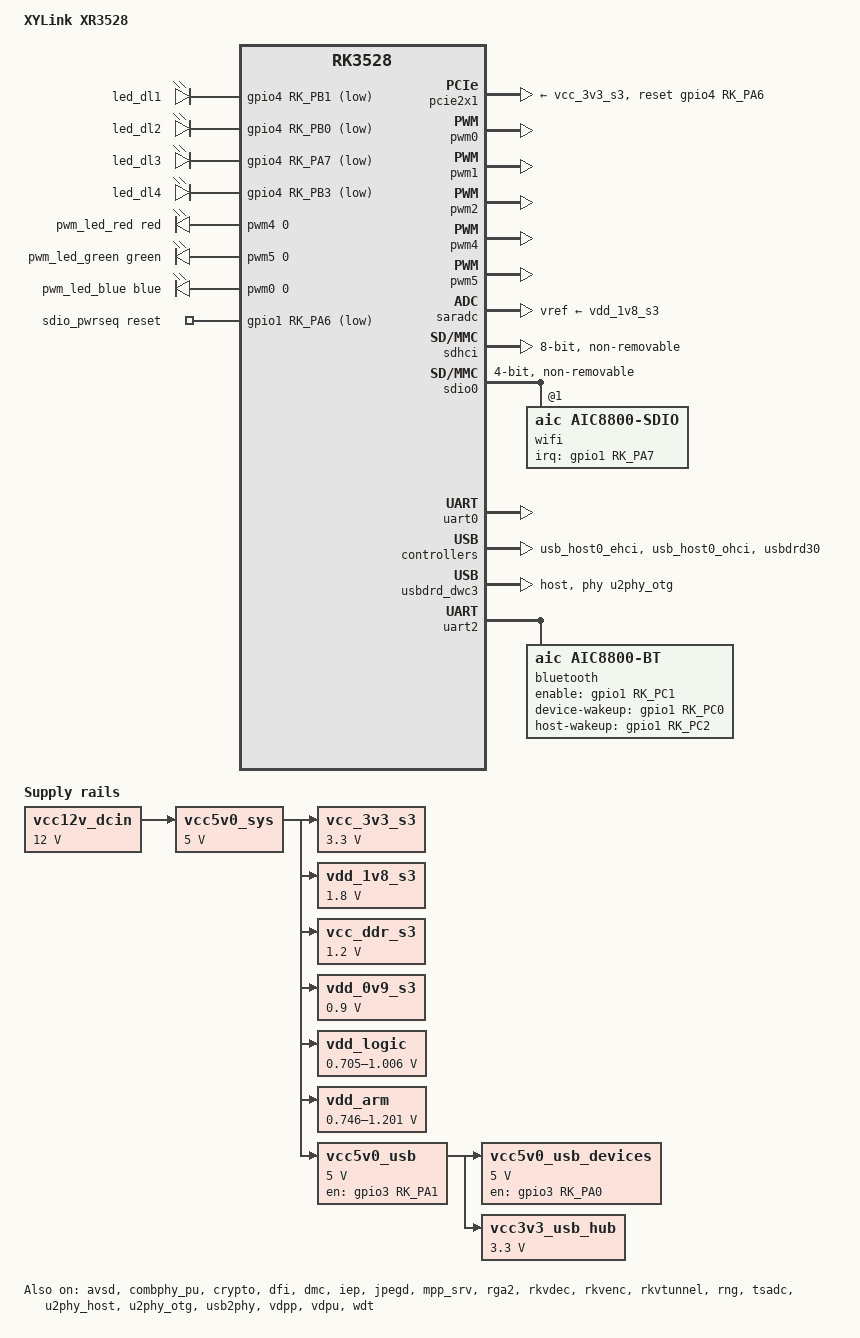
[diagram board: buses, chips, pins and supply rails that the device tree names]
// SPDX-License-Identifier: (GPL-2.0+ OR MIT)
/*
 * Copyright (c) 2022 Rockchip Electronics Co., Ltd.
 * Copyright (c) 2026 flippy (flippy@sina.com)
 *
 */

/dts-v1/;

#include <dt-bindings/gpio/gpio.h>
#include <dt-bindings/interrupt-controller/irq.h>
#include <dt-bindings/input/rk-input.h>
#include <dt-bindings/leds/common.h>
#include <dt-bindings/pinctrl/rockchip.h>
#include "rk3528.dtsi"

/ {
	model = "XYLink XR3528";
	compatible = "xylink,xr3528", "rockchip,rk3528";

	aliases: aliases {
		mmc0 = &sdmmc;
		mmc1 = &sdhci;
		mmc2 = &sdio0;
	};

	chosen: chosen{
		bootargs = "earlycon=uart8250,mmio32,0xff9f0000 console=ttyS0,1500000";
	};

	fiq_debugger: fiq-debugger {
		compatible = "rockchip,fiq-debugger";
		rockchip,serial-id = <0>;
		rockchip,wake-irq = <0>;
		/* If enable uart uses irq instead of fiq */
		rockchip,irq-mode-enable = <1>;
		rockchip,baudrate = <1500000>;  /* Only 115200 and 1500000 */
		interrupts = <GIC_SPI 186 IRQ_TYPE_LEVEL_HIGH>;
		pinctrl-names = "default";
		pinctrl-0 = <&uart0m0_xfer>;
		status = "disabled";
	};

	firmware: firmware {
		optee: optee {
			compatible = "linaro,optee-tz";
			method = "smc";
		};
	};

	gpio_leds: gpio-leds {
		compatible = "gpio-leds";

		led_dl1: led-dl1 {
			function = LED_FUNCTION_POWER;
			pinctrl-0 = <&led_dl1_pin>;
			pinctrl-names = "default";
			gpios = <&gpio4 RK_PB1 GPIO_ACTIVE_LOW>;
			linux,default-trigger = "default-on";
		};

		led_dl2: led-dl2 {
			function = LED_FUNCTION_HEARTBEAT;
			pinctrl-0 = <&led_dl2_pin>;
			pinctrl-names = "default";
			gpios = <&gpio4 RK_PB0 GPIO_ACTIVE_LOW>;
			linux,default-trigger = "heartbeat";
		};

		led_dl3: led-dl3 {
			pinctrl-0 = <&led_dl3_pin>;
			pinctrl-names = "default";
			gpios = <&gpio4 RK_PA7 GPIO_ACTIVE_LOW>;
		};

		led_dl4: led-dl4 {
			pinctrl-0 = <&led_dl4_pin>;
			pinctrl-names = "default";
			gpios = <&gpio4 RK_PB3 GPIO_ACTIVE_LOW>;
		};
	};

	pwm_leds: pwm-leds {
		compatible = "pwm-leds";

		pwm_led_red: pwm-led-red {
			color = <LED_COLOR_ID_RED>;
			pwms = <&pwm4 0 1000000 0>;
			max-brightness = <255>;
			default-state = "off";
		};

		pwm_led_green: pwm-led-green {
			color = <LED_COLOR_ID_GREEN>;
			pwms = <&pwm5 0 1000000 0>;
			linux,default-trigger = "heartbeat";
			max-brightness = <255>;
		};

		pwm_led_blue: pwm-led-blue {
			color = <LED_COLOR_ID_BLUE>;
			pwms = <&pwm0 0 1000000 0>;
			max-brightness = <255>;
			default-state = "off";
		};
	};

	reserved_memory: reserved-memory {
		#address-cells = <2>;
		#size-cells = <2>;
		ranges;

		cmd: cma {
			compatible = "shared-dma-pool";
			reusable;
			size = <0x00 0x2000000>;
			linux,cma-default;
		};

		drm_logo: drm-logo@00000000 {
			compatible = "rockchip,drm-logo";
			reg = <0x0 0x0 0x0 0x0>;
		};

		drm_cubic_lut: drm-cubic-lut@00000000 {
			compatible = "rockchip,drm-cubic-lut";
			reg = <0x0 0x0 0x0 0x0>;
		};

		ramoops: ramoops@110000 {
			compatible = "ramoops";
			/* 0x110000 to 0x1f0000 is for ramoops */
			reg = <0x0 0x110000 0x0 0xe0000>;
			boot-log-size = <0x8000>;	/* do not change */
			boot-log-count = <0x1>;		/* do not change */
			console-size = <0x80000>;
			pmsg-size = <0x30000>;
			ftrace-size = <0x00000>;
			record-size = <0x14000>;
		};
	};

	vcc12v_dcin: regulator-vcc12v-dcin {
		compatible = "regulator-fixed";
		regulator-name = "vcc12v-dcin";
		regulator-always-on;
		regulator-boot-on;
		regulator-min-microvolt = <12000000>;
		regulator-max-microvolt = <12000000>;
	};

	vcc5v0_sys: regulator-vcc5v0-sys {
		compatible = "regulator-fixed";
		pinctrl-names = "default";
		pinctrl-0 = <&charge_pin>, <&full_pin>;
		regulator-name = "vcc5v0_sys";
		regulator-always-on;
		regulator-boot-on;
		regulator-min-microvolt = <5000000>;
		regulator-max-microvolt = <5000000>;
		vin-supply = <&vcc12v_dcin>;
	};

	vcc_3v3_s3: regulator-vcc-3v3-s3 {
		compatible = "regulator-fixed";
		regulator-name = "vcc_3v3_s3";
		regulator-always-on;
		regulator-boot-on;
		regulator-min-microvolt = <3300000>;
		regulator-max-microvolt = <3300000>;
		vin-supply = <&vcc5v0_sys>;
	};

	vdd_1v8_s3: regulator-vdd-1v8-s3 {
		compatible = "regulator-fixed";
		regulator-name = "vdd_1v8_s3";
		regulator-always-on;
		regulator-boot-on;
		regulator-min-microvolt = <1800000>;
		regulator-max-microvolt = <1800000>;
		vin-supply = <&vcc5v0_sys>;
	};

	vcc_ddr_s3: regulator-vcc-ddr-s3 {
		compatible = "regulator-fixed";
		regulator-name = "vcc_ddr_s3";
		regulator-always-on;
		regulator-boot-on;
		regulator-min-microvolt = <1200000>;
		regulator-max-microvolt = <1200000>;
		vin-supply = <&vcc5v0_sys>;
	};

	vdd_0v9_s3: regulator-vdd-0v9-s3 {
		compatible = "regulator-fixed";
		regulator-name = "vdd_0v9_s3";
		regulator-always-on;
		regulator-boot-on;
		regulator-min-microvolt = <900000>;
		regulator-max-microvolt = <900000>;
		vin-supply = <&vcc5v0_sys>;
	};

	vdd_logic: regulator-vdd-logic {
		compatible = "pwm-regulator";
		pwms = <&pwm2 0 5000 1>;
		regulator-name = "vdd_logic";
		regulator-min-microvolt = <705000>;
		regulator-max-microvolt = <1006000>;
		regulator-init-microvolt = <950000>;
		regulator-always-on;
		regulator-boot-on;
		regulator-settling-time-up-us = <250>;
		pwm-supply = <&vcc5v0_sys>;
		status = "okay";
	};

	vdd_arm: regulator-vdd-arm {
		compatible = "pwm-regulator";
		pwms = <&pwm1 0 5000 1>;
		regulator-name = "vdd_arm";
		regulator-min-microvolt = <746000>;
		regulator-max-microvolt = <1201000>;
		regulator-init-microvolt = <953000>;
		regulator-always-on;
		regulator-boot-on;
		regulator-settling-time-up-us = <250>;
		regulator-enable-ramp-delay = <400>;
		regulator-ramp-delay = <12500>;
		pwm-supply = <&vcc5v0_sys>;
		status = "okay";
	};

	vcc5v0_usb: regulator-vcc5v0-usb {
		compatible = "regulator-fixed";
		enable-active-high;
		gpios = <&gpio3 RK_PA1 GPIO_ACTIVE_HIGH>;
		regulator-name = "vcc5v0_usb";
		regulator-always-on;
		regulator-boot-on;
		regulator-min-microvolt = <5000000>;
		regulator-max-microvolt = <5000000>;
		vin-supply = <&vcc5v0_sys>;
	};

	vcc5v0_usb_devices: regulator-vbus5v0-devices {
		compatible = "regulator-fixed";
		enable-active-high;
		gpios = <&gpio3 RK_PA0 GPIO_ACTIVE_HIGH>;
		regulator-name = "vcc5v0_usb_devices";
		regulator-min-microvolt = <5000000>;
		regulator-max-microvolt = <5000000>;
		vin-supply = <&vcc5v0_usb>;
	};

	vcc3v3_usb_hub: regulator-vcc3v3-usb-hub {
		compatible = "regulator-fixed";
		regulator-name = "vcc3v3_usb_hub";
		regulator-always-on;
		regulator-boot-on;
		regulator-min-microvolt = <3300000>;
		regulator-max-microvolt = <3300000>;
		vin-supply = <&vcc5v0_usb>;
	};

	sdio_pwrseq: sdio-pwrseq {
		compatible = "mmc-pwrseq-simple";
		pinctrl-names = "default";
		pinctrl-0 = <&wifi_enable_h>; // WIFI_REG_ON
		post-power-on-delay-ms = <1000>;
		power-off-delay-us = <20000>;

		/*
		 * On the module itself this is one of these (depending
		 * on the actual card populated):
		 * - SDIO_RESET_L_WL_REG_ON
		 * - PDN (power down when low)
		 */
		reset-gpios = <&gpio1 RK_PA6 GPIO_ACTIVE_LOW>;
		status = "okay";
	};

};

&avsd {
	status = "okay";
};

&combphy_pu {
	status = "okay";
};

&cpu0 {
	cpu-supply = <&vdd_arm>;
};

&cpu0_opp_table {
	opp-408000000 {
		opp-microvolt-L0 = <905000 905000 1200000>;
		opp-microvolt-L1 = <895000 895000 1200000>;
		opp-microvolt-L2 = <885000 885000 1200000>;
		opp-microvolt-L3 = <875000 875000 1200000>;
		opp-microvolt-L4 = <865000 865000 1200000>;
		opp-microvolt-L5 = <855000 855000 1200000>;
		opp-microvolt = <850000 850000 1200000>;
		status = "disabled";
	};

	opp-600000000 {
		opp-microvolt-L0 = <905000 905000 1200000>;
		opp-microvolt-L1 = <895000 895000 1200000>;
		opp-microvolt-L2 = <885000 885000 1200000>;
		opp-microvolt-L3 = <875000 875000 1200000>;
		opp-microvolt-L4 = <865000 865000 1200000>;
		opp-microvolt-L5 = <855000 855000 1200000>;
		opp-microvolt = <850000 850000 1200000>;
		status = "disabled";
	};

	opp-816000000 {
		opp-microvolt-L0 = <905000 905000 1200000>;
		opp-microvolt-L1 = <895000 895000 1200000>;
		opp-microvolt-L2 = <885000 885000 1200000>;
		opp-microvolt-L3 = <875000 875000 1200000>;
		opp-microvolt-L4 = <865000 865000 1200000>;
		opp-microvolt-L5 = <855000 855000 1200000>;
		opp-microvolt = <850000 850000 1200000>;
		status = "disabled";
	};

	opp-1008000000 {
		opp-microvolt-L0 = <905000 905000 1200000>;
		opp-microvolt-L1 = <895000 895000 1200000>;
		opp-microvolt-L2 = <885000 885000 1200000>;
		opp-microvolt-L3 = <875000 875000 1200000>;
		opp-microvolt-L4 = <865000 865000 1200000>;
		opp-microvolt-L5 = <855000 855000 1200000>;
		opp-microvolt = <850000 850000 1200000>;
	};

	opp-1200000000 {
		opp-microvolt-L0 = <935000 935000 1200000>;
		opp-microvolt-L1 = <922500 922500 1200000>;
		opp-microvolt-L2 = <910000 910000 1200000>;
		opp-microvolt-L3 = <897500 897500 1200000>;
		opp-microvolt-L4 = <885000 885000 1200000>;
		opp-microvolt-L5 = <872500 872500 1200000>;
		opp-microvolt-L6 = <860000 860000 1200000>;
		opp-microvolt = <850000 850000 1200000>;
	};

	opp-1416000000 {
		opp-microvolt-L0 = <1002500 1002500 1200000>;
		opp-microvolt-L1 = <990000 990000 1200000>;
		opp-microvolt-L2 = <977500 977500 1200000>;
		opp-microvolt-L3 = <965000 965000 1200000>;
		opp-microvolt-L4 = <952500 952500 1200000>;
		opp-microvolt-L5 = <940000 940000 1200000>;
		opp-microvolt-L6 = <927500 927500 1200000>;
		opp-microvolt-L7 = <915000 915000 1200000>;
		opp-microvolt-L8 = <902500 902500 1200000>;
		opp-microvolt-L9 = <890000 890000 1200000>;
		opp-microvolt-L10 = <877500 877500 1200000>;
		opp-microvolt-L11 = <865000 865000 1200000>;
		opp-microvolt = <865000 865000 1200000>;
	};

	opp-1608000000 {
		opp-microvolt-L0 = <1072500 1072500 1200000>;
		opp-microvolt-L1 = <1060000 1060000 1200000>;
		opp-microvolt-L2 = <1047500 1047500 1200000>;
		opp-microvolt-L3 = <1035000 1035000 1200000>;
		opp-microvolt-L4 = <1022500 1022500 1200000>;
		opp-microvolt-L5 = <1010000 1010000 1200000>;
		opp-microvolt-L6 = <997500 997500 1200000>;
		opp-microvolt-L7 = <985000 985000 1200000>;
		opp-microvolt-L8 = <972500 972500 1200000>;
		opp-microvolt-L9 = <960000 960000 1200000>;
		opp-microvolt-L10 = <947500 947500 1200000>;
		opp-microvolt-L11 = <935000 935000 1200000>;
		opp-microvolt = <935000 935000 1200000>;
	};

	opp-1800000000 {
		opp-microvolt-L0 = <1142500 1142500 1200000>;
		opp-microvolt-L1 = <1130000 1130000 1200000>;
		opp-microvolt-L2 = <1117500 1117500 1200000>;
		opp-microvolt-L3 = <1105000 1105000 1200000>;
		opp-microvolt-L4 = <1092500 1092500 1200000>;
		opp-microvolt-L5 = <1080000 1080000 1200000>;
		opp-microvolt-L6 = <1067500 1067500 1200000>;
		opp-microvolt-L7 = <1055000 1055000 1200000>;
		opp-microvolt-L8 = <1042500 1042500 1200000>;
		opp-microvolt-L9 = <1030000 1030000 1200000>;
		opp-microvolt-L10 = <1017500 1017500 1200000>;
		opp-microvolt-L11 = <1005000 1005000 1200000>;
		opp-microvolt = <1005000 1005000 1200000>;
	};

	opp-2016000000 {
		opp-microvolt-L0 = <1200000 1200000 1200000>;
		opp-microvolt-L1 = <1190000 1190000 1200000>;
		opp-microvolt-L2 = <1180000 1180000 1200000>;
		opp-microvolt-L3 = <1170000 1170000 1200000>;
		opp-microvolt-L4 = <1160000 1160000 1200000>;
		opp-microvolt-L5 = <1150000 1150000 1200000>;
		opp-microvolt-L6 = <1140000 1140000 1200000>;
		opp-microvolt-L7 = <1130000 1130000 1200000>;
		opp-microvolt-L8 = <1120000 1120000 1200000>;
		opp-microvolt-L9 = <1110000 1110000 1200000>;
		opp-microvolt-L10 = <1100000 1100000 1200000>;
		opp-microvolt-L11 = <1090000 1090000 1200000>;
		opp-microvolt = <1090000 1090000 1200000>;
	};
};

&crypto {
	status = "okay";
};

&dfi {
	status = "okay";
};

&dmc {
	center-supply = <&vdd_logic>;
	status = "okay";
};

&mailbox {
	status = "okay";
};

&iep {
	status = "okay";
};

&iep_mmu {
	status = "okay";
};

&jpegd {
	status = "okay";
};

&jpegd_mmu {
	status = "okay";
};

&mpp_srv {
	status = "okay";
};

&pcie2x1 {
	reset-gpios = <&gpio4 RK_PA6 GPIO_ACTIVE_HIGH>;
        vpcie3v3-supply = <&vcc_3v3_s3>;
	status = "okay";
};

&pinctrl {
	charge {
		charge_pin: charge-pin {
			rockchip,pins = <4 RK_PC2 RK_FUNC_GPIO &pcfg_pull_up>;
		};

		full_pin: full-pin {
			rockchip,pins = <4 RK_PC1 RK_FUNC_GPIO &pcfg_pull_up>;
		};
	};

	lcd {
		lcd_dc_pin: lcd-dc-pin {
			rockchip,pins = <1 RK_PB4 RK_FUNC_GPIO &pcfg_pull_up_drv_level_6>;
		};

		spi1_custom_pins: spi4-custom-pins {
			rockchip,pins =
				/* spi1_clk_m2 */
				<1 RK_PB6 2 &pcfg_pull_none_drv_level_2>,
				/* spi1_mosi_m2 */
				<1 RK_PB7 2 &pcfg_pull_none_drv_level_2>;
		};

		lcd_backlight_pin: lcd-backlight-pin {
			rockchip,pins = <0 RK_PA0 RK_FUNC_GPIO &pcfg_pull_up>;
		};
	};

	leds {
		led_dl1_pin: led-dl1-pin {
			rockchip,pins = <4 RK_PB1 RK_FUNC_GPIO &pcfg_pull_up>;
		};

		led_dl2_pin: led-dl2-pin {
			rockchip,pins = <4 RK_PB0 RK_FUNC_GPIO &pcfg_pull_up>;
		};

		led_dl3_pin: led-dl3-pin {
			rockchip,pins = <4 RK_PA7 RK_FUNC_GPIO &pcfg_pull_up>;
		};

		led_dl4_pin: led-dl4-pin {
			rockchip,pins = <4 RK_PB3 RK_FUNC_GPIO &pcfg_pull_up>;
		};
	};

	sdio-wireless {
		wifi_enable_h: wifi-enable-h {
			rockchip,pins = <1 RK_PA6 RK_FUNC_GPIO &pcfg_pull_none>;
		};

		wifi_wake_host_irq: wifi-wake-host-irq {
			rockchip,pins = <1 RK_PA7 RK_FUNC_GPIO &pcfg_pull_none>;
		};
	};

};

&pwm0 {
	pinctrl-0 = <&pwm0m0_pins>;
	status = "okay";
};

&pwm1 {
	pinctrl-0 = <&pwm1m0_pins>;
	status = "okay";
};

&pwm2 {
	pinctrl-0 = <&pwm2m0_pins>;
	status = "okay";
};

&pwm4 {
	pinctrl-0 = <&pwm4m0_pins>;
	status = "okay";
};

&pwm5 {
	pinctrl-0 = <&pwm5m0_pins>;
	status = "okay";
};

&rga2 {
	status = "okay";
};

&rga2_mmu {
	status = "okay";
};

&rkvdec {
	status = "okay";
};

&rkvdec_mmu {
	status = "okay";
};

&rkvenc {
	status = "okay";
};

&rkvenc_mmu {
	status = "okay";
};

&rkvtunnel {
	status = "okay";
};

&rng {
	status = "okay";
};

&saradc {
	status = "okay";
	vref-supply = <&vdd_1v8_s3>;
};

&sdhci {
	bus-width = <8>;
	no-sd;
	no-sdio;
	non-removable;
	mmc-hs200-1_8v;
	max-frequency = <200000000>;
	pinctrl-names = "default";
	pinctrl-0 = <&emmc_clk &emmc_cmd &emmc_strb &emmc_bus8>;
	status = "okay";
};

&sdio0 {
	#address-cells = <1>;
	#size-cells = <0>;
	max-frequency = <150000000>;
	no-sd;
	no-mmc;
	bus-width = <4>;
	disable-wp;
	cap-sd-highspeed;
	cap-sdio-irq;
	keep-power-in-suspend;
	mmc-pwrseq = <&sdio_pwrseq>;
	non-removable;
	pinctrl-names = "default";
	pinctrl-0 = <&sdio0_bus4 &sdio0_clk &sdio0_cmd>;
	sd-uhs-sdr50;
	sd-uhs-sdr104;
	status = "okay";

	wifi@1 {
		compatible = "aic,aic8800-sdio";
		reg = <1>;
		pinctrl-names = "default";
		pinctrl-0 = <&wifi_wake_host_irq>;
		interrupt-parent = <&gpio1>;
		interrupts = <RK_PA7 IRQ_TYPE_LEVEL_HIGH>; /* WIFI_WAKE_HOST */
		interrupt-names = "host-wake";
	};
};

&tsadc {
	status = "okay";
};

&uart0 {
	status = "okay";
	pinctrl-names = "default";
	pinctrl-0 = <&uart0m0_xfer>;
};

&u2phy_host {
	phy-supply = <&vcc5v0_usb_devices>;
	status = "okay";
};

&u2phy_otg {
	phy-supply = <&vcc5v0_usb_devices>;
	status = "okay";
};

&usb2phy {
	status = "okay";
};

&usb_host0_ehci {
	status = "okay";
};

&usb_host0_ohci {
	status = "okay";
};

&usbdrd30 {
	status = "okay";
};

&usbdrd_dwc3 {
	dr_mode = "host";
	extcon = <&usb2phy>;
	maximum-speed = "high-speed";
	phys = <&u2phy_otg>;
	phy-names = "usb2-phy";
	status = "okay";
};

&vdpp {
	status = "okay";
};

&vdpu {
	status = "okay";
};

&vdpu_mmu {
	status = "okay";
};

&uart2 {
	status = "okay";
	pinctrl-names = "default";
	/* RTS is required for hardware flow control; the AIC8800 BT firmware
	 * is configured with flow control enabled (uart_flowctrl=1).
	 */
	pinctrl-0 = <&uart2m1_xfer &uart2m1_ctsn &uart2m1_rtsn>;

	bluetooth {
		compatible = "aic,aic8800-bt";
		enable-gpios = <&gpio1 RK_PC1 GPIO_ACTIVE_HIGH>;       /* BT_REG_ON */
		device-wakeup-gpios = <&gpio1 RK_PC0 GPIO_ACTIVE_HIGH>; /* HOST_WAKE_BT */
		host-wakeup-gpios = <&gpio1 RK_PC2 GPIO_ACTIVE_HIGH>;   /* BT_WAKE_HOST */
		max-speed = <1500000>;
		post-power-on-delay-ms = <100>;
	};
};

&wdt {
	status = "okay";
};
